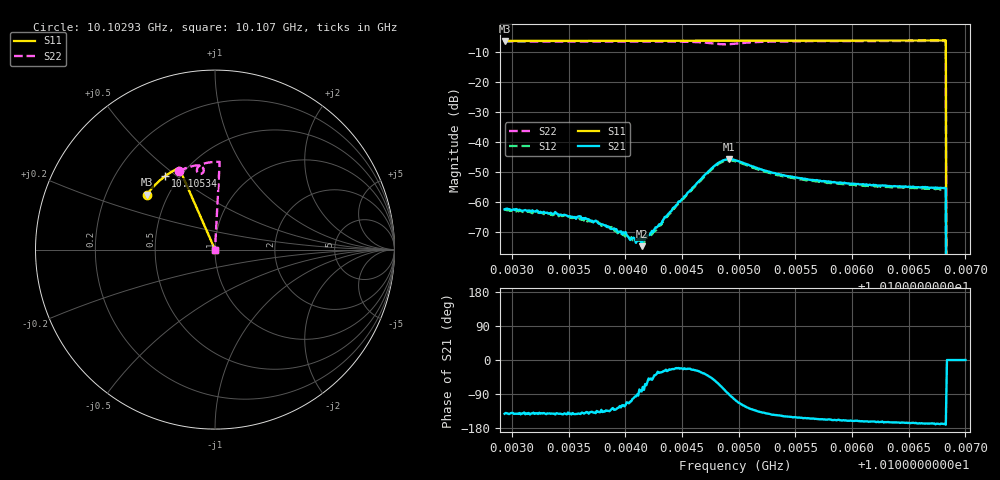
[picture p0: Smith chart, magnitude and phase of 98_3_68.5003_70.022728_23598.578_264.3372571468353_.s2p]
#  HZ  S  RI  R  50.00
! Rohde & Schwarz Vector Network Analyzer
! Rohde-Schwarz,ZNB20-2Port,1311601062101988,3.16
! Created: UTC 3/20/2024, 4:52:57 PM
! freq[Hz]  re:S11  im:S11  re:S21  im:S21  re:S12  im:S12  re:S22  im:S22
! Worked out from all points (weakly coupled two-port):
!   401 points, 10.10293 GHz to 10.107 GHz, reference 50 ohm
!   highest |S21| = -45.70 dB at 10.10492 GHz (marker M1); lowest = -74.7 dB at 10.10414 GHz (marker M2)
!   lowest |S11| = -6.2 dB at 10.10293 GHz (marker M3), VSWR 2.91, Z = 19.1 + j15.3 ohm
!   |S11| at or under -10 dB: 10.10683 GHz to end of sweep
!   |S22| runs from - to -6.2 dB; largest |S21 - S12| = 0.00052
!   S11 on the Smith chart (normalised r, x): 10.10293 GHz: 0.38, +0.31; 10.10534 GHz: 0.42, +0.46; 10.107 GHz: 1.00, +0.00
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1.0102933e10  -0.3801 0.3063  -0.000597 -0.00047  -0.000552 -0.000508  -0.2021 0.4362
1.0103381e10  -0.3635 0.328  -0.000554 -0.000405  -0.000469 -0.000434  -0.1749 0.4488
1.0103614e10  -0.3542 0.3387  -0.000395 -0.000345  -0.000367 -0.00036  -0.1599 0.4549
1.0103757e10  -0.3484 0.3452  -0.00033 -0.000313  -0.00032 -0.000353  -0.1505 0.4583
1.0103858e10  -0.3442 0.3497  -0.000272 -0.000271  -0.00023 -0.000311  -0.1436 0.4606
1.010398e10  -0.3392 0.3552  -0.000153 -0.000275  -0.00013 -0.000251  -0.1349 0.4632
1.0104031e10  -0.3371 0.3575  -0.000105 -0.000232  -5.98e-05 -0.000249  -0.131 0.4641
1.0104062e10  -0.3358 0.3589  -5.54e-05 -0.000245  -5.29e-05 -0.000227  -0.129 0.4648
1.0104143e10  -0.3324 0.3624  2.29e-05 -0.000184  7.63e-05 -0.000228  -0.1226 0.4662
1.0104214e10  -0.3292 0.3652  0.000178 -0.000224  0.000168 -0.000208  -0.1168 0.4673
1.0104295e10  -0.3256 0.3687  0.000347 -0.000235  0.000376 -0.000196  -0.11 0.4683
1.0104428e10  -0.3198 0.3742  0.000752 -0.000335  0.000734 -0.000253  -0.0974 0.4687
1.0104743e10  -0.3053 0.3869  0.00244 -0.00236  0.00254 -0.00207  -0.0631 0.4466
1.0104834e10  -0.3013 0.3902  0.00181 -0.00433  0.00212 -0.00398  -0.0684 0.4273
1.0104916e10  -0.2976 0.3934  -0.000133 -0.00518  0.000326 -0.00498  -0.0875 0.4227
1.0104966e10  -0.2955 0.3953  -0.0013 -0.00487  -0.000851 -0.00476  -0.097 0.4296
1.0105343e10  -0.2775 0.4097  -0.00245 -0.00167  -0.00217 -0.0018  -0.0795 0.4719
1.0105647e10  -0.2623 0.4205  -0.00213 -0.001  -0.00196 -0.00114  -0.0551 0.481
1.0106329e10  -0.2272 0.4421  -0.0018 -0.000497  -0.00166 -0.000659  -0.00701 0.4882
1.0106806e10  -0.2016 0.4555  -0.00169 -0.000337  -0.00158 -0.000461  0.0249 0.4892
1.0106857e10  0 0  0 0  0 0  0 0
1.0106999e10  0 0  0 0  0 0  0 0
